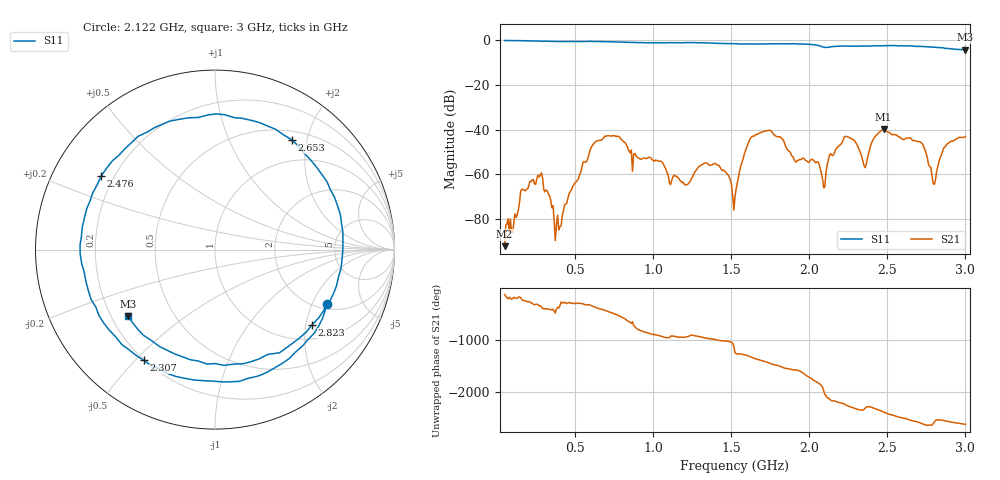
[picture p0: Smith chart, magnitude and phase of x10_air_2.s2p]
! nanovna_capture.py 2026-10-18T20:25:18+0900
! NanoVNA-F_V2 fw 0.6.0 SN 4A3639384505514B
! cal: load open short thru cal'ed  over 50000000-3000000000 Hz, 201 points
! points 401, avg 4
! S21: port1 = green ~10 mm H loop (flat, tape), port2 = GSM antenna 20-30 cm away; free air, capture 2
# HZ S RI R 50
! S12 and S22 are not measured (written as 0)
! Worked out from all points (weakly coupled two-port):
!   401 points, 50 MHz to 3 GHz, reference 50 ohm
!   highest |S21| = -39.79 dB at 2.476 GHz (marker M1); lowest = -92.2 dB at 50 MHz (marker M2)
!   lowest |S11| = -4.3 dB at 3 GHz (marker M3), VSWR 4.14, Z = 13.4 - j15.8 ohm
!   |S11| at or under -10 dB: nowhere
!   S12 and S22 are empty: the file has one direction only
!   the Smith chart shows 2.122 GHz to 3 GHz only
!   S11 on the Smith chart (normalised r, x): 2.122 GHz: 2.22, -2.59; 2.307 GHz: 0.20, -0.53; 2.476 GHz: 0.15, +0.29; 2.653 GHz: 0.63, +1.75; 2.823 GHz: 1.38, -2.17; 3 GHz: 0.27, -0.32
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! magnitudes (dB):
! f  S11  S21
! 50 MHz  -0.1  -92.2
! 278.6 MHz  -0.4  -60.4
! 404 MHz  -0.6  -83.5
! 544.1 MHz  -0.6  -57.1
! 706.4 MHz  -0.7  -42.9
! 1.038 GHz  -1.2  -54.2
! 1.215 GHz  -1.1  -64.7
! 1.407 GHz  -1.4  -55.7
! 1.525 GHz  -1.6  -70.2
! 1.599 GHz  -1.7  -48.3
! 1.673 GHz  -1.7  -42.0
! 2.019 GHz  -1.9  -53.3
! 2.093 GHz  -3.1  -66.1
! 2.122 GHz  -3.2  -53.6
! 2.307 GHz  -2.7  -46.9
! 2.358 GHz  -2.6  -57.1
! 2.476 GHz  -2.4  -39.8
! 2.513 GHz  -2.4  -41.3
! 2.653 GHz  -2.5  -44.1
! 2.793 GHz  -3.0  -64.2
! 2.823 GHz  -3.3  -56.7
! 3 GHz  -4.3  -43.2
